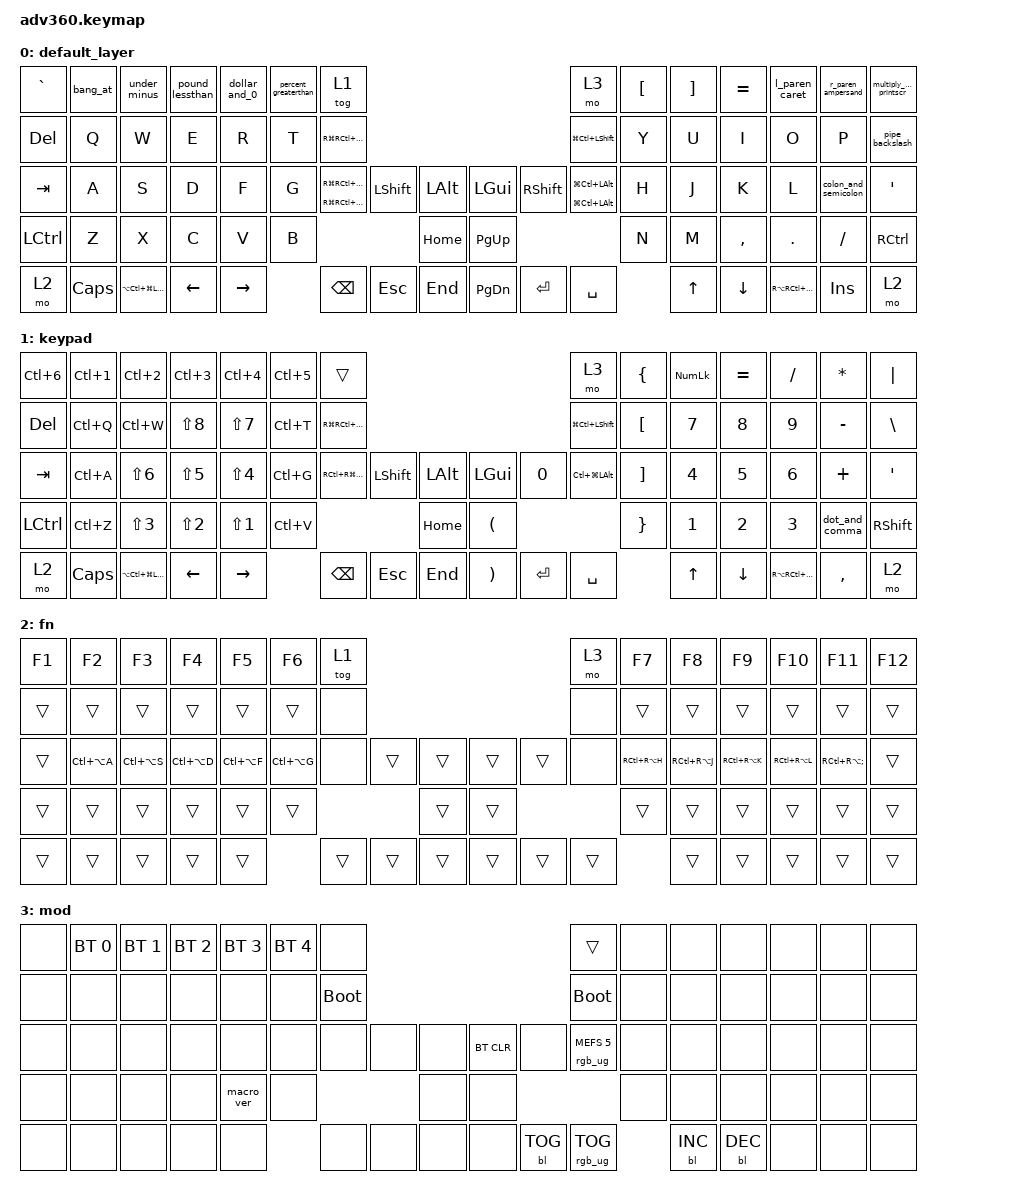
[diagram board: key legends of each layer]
#include <behaviors.dtsi>
#include <dt-bindings/zmk/backlight.h>
#include <dt-bindings/zmk/bt.h>
#include <dt-bindings/zmk/keys.h>
#include <dt-bindings/zmk/rgb.h>

/ {
    behaviors {
        #include "macros.dtsi"
      #include "version.dtsi"
      #ifndef VERSION_MACRO

        macro_ver: macro_ver {
            compatible = "zmk,behavior-macro";
            label = "macro_version";
            #binding-cells = <0>;
            bindings = <&kp RET>;
        };

        #endif

        hm: homerow_mods {
            compatible = "zmk,behavior-hold-tap";
            label = "HOMEROW_MODS";
            #binding-cells = <2>;
            tapping-term-ms = <200>;
            quick_tap_ms = <175>;
            flavor = "tap-preferred";
            bindings = <&kp>, <&kp>;
        };

        l_paren_caret: l_paren_caret {
            compatible = "zmk,behavior-mod-morph";
            label = "L_PAREN_CARET";
            bindings = <&kp LEFT_PARENTHESIS>, <&kp CARET>;

            #binding-cells = <0>;
            mods = <(MOD_RSFT|MOD_LSFT)>;
        };

        r_paren_ampersand: r_paren_ampersand {
            compatible = "zmk,behavior-mod-morph";
            label = "R_PAREN_AMPERSAND";
            bindings = <&kp RIGHT_PARENTHESIS>, <&kp AMPERSAND>;

            #binding-cells = <0>;
            mods = <(MOD_RSFT|MOD_LSFT)>;
        };

        under_minus: under_minus {
            compatible = "zmk,behavior-mod-morph";
            label = "UNDER_MINUS";
            bindings = <&kp UNDERSCORE>, <&kp KP_MINUS>;

            #binding-cells = <0>;
            mods = <(MOD_RSFT|MOD_LSFT)>;
        };

        percent_greaterthan: percent_greaterthan {
            compatible = "zmk,behavior-mod-morph";
            label = "PERCENT_GREATERTHAN";
            bindings = <&kp PERCENT>, <&kp GREATER_THAN>;

            #binding-cells = <0>;
            mods = <(MOD_LSFT|MOD_RSFT)>;
        };

        lessthan_dollar: lessthan_dollar {
            compatible = "zmk,behavior-mod-morph";
            label = "LESSTHAN_DOLLAR";
            bindings = <&kp LESS_THAN>, <&kp DOLLAR>;

            #binding-cells = <0>;
            mods = <(MOD_LSFT|MOD_RSFT)>;
        };

        pipe_backslash: pipe_backslash {
            compatible = "zmk,behavior-mod-morph";
            label = "PIPE_BACKSLASH";
            bindings = <&kp PIPE>, <&kp BACKSLASH>;

            #binding-cells = <0>;
            mods = <(MOD_RSFT|MOD_LSFT)>;
        };

        pound_lessthan: pound_lessthan {
            compatible = "zmk,behavior-mod-morph";
            label = "POUND_LESSTHAN";
            bindings = <&kp POUND>, <&kp LESS_THAN>;

            #binding-cells = <0>;
            mods = <(MOD_LSFT|MOD_RSFT)>;
        };

        bang_at: bang_at {
            compatible = "zmk,behavior-mod-morph";
            label = "BANG_AT";
            bindings = <&kp EXCLAMATION>, <&kp AT_SIGN>;

            #binding-cells = <0>;
            mods = <(MOD_LSFT|MOD_RSFT)>;
        };

        multiply_and_printscr: multiply_and_printscr {
            compatible = "zmk,behavior-mod-morph";
            label = "MULTIPLY_AND_PRINTSCR";
            bindings = <&kp KP_MULTIPLY>, <&kp PRINTSCREEN>;

            #binding-cells = <0>;
            mods = <(MOD_LSFT|MOD_RSFT)>;
        };

        dot_and_comma: dot_and_comma {
            compatible = "zmk,behavior-mod-morph";
            label = "DOT_AND_COMMA";
            bindings = <&kp KP_DOT>, <&kp KP_COMMA>;

            #binding-cells = <0>;
            mods = <(MOD_LSFT|MOD_RSFT)>;
        };

        colon_and_semicolon: colon_and_semicolon {
            compatible = "zmk,behavior-mod-morph";
            label = "COLON_AND_SEMICOLON";
            bindings = <&kp COLON>, <&kp SEMICOLON>;

            #binding-cells = <0>;
            mods = <(MOD_RSFT|MOD_LSFT)>;
        };

        dollar_and_0: dollar_and_0 {
            compatible = "zmk,behavior-mod-morph";
            label = "DOLLAR_AND_0";
            bindings = <&kp DOLLAR>, <&kp N0>;

            #binding-cells = <0>;
            mods = <(MOD_LSFT|MOD_RSFT)>;
        };
    };

    combos {
        compatible = "zmk,combos";

        q-1 {
            bindings = <&kp N1>;
            key-positions = <39 15>;
            timeout-ms = <500>;
        };

        w-2 {
            bindings = <&kp NUMBER_2>;
            key-positions = <39 16>;
            timeout-ms = <500>;
        };

        e-3 {
            bindings = <&kp NUMBER_3>;
            key-positions = <39 17>;
            timeout-ms = <500>;
        };

        r-4 {
            bindings = <&kp NUMBER_4>;
            key-positions = <39 18>;
            timeout-ms = <500>;
        };

        t-5 {
            bindings = <&kp N5>;
            key-positions = <39 19>;
            timeout-ms = <500>;
        };

        y-6 {
            bindings = <&kp NUMBER_6>;
            key-positions = <34 22>;
            timeout-ms = <500>;
        };

        u-7 {
            bindings = <&kp N7>;
            key-positions = <34 23>;
            timeout-ms = <500>;
        };

        i-8 {
            bindings = <&kp N8>;
            key-positions = <34 24>;
            timeout-ms = <500>;
        };

        o-9 {
            bindings = <&kp N9>;
            key-positions = <34 25>;
            timeout-ms = <500>;
        };

        p-0 {
            bindings = <&kp N0>;
            key-positions = <34 26>;
            timeout-ms = <500>;
        };
    };

    macros {
    };

    keymap {
        compatible = "zmk,keymap";

        default_layer {
            bindings = <
&kp GRAVE  &bang_at  &under_minus                &pound_lessthan  &dollar_and_0  &percent_greaterthan  &tog 1                                                                                    &mo 3                                  &kp LEFT_BRACKET  &kp RIGHT_BRACKET  &kp EQUAL  &l_paren_caret               &r_paren_ampersand    &multiply_and_printscr
&kp DEL    &kp Q     &kp W                       &kp E            &kp R          &kp T                 &kp RG(RC(RIGHT_SHIFT))                                                                   &kp LG(LC(LEFT_SHIFT))                 &kp Y             &kp U              &kp I      &kp O                        &kp P                 &pipe_backslash
&kp TAB    &kp A     &kp S                       &kp D            &kp F          &kp G                 &mt RG(RC(RIGHT_ALT)) RG(RC(RIGHT_ALT))  &kp LSHIFT  &kp LALT      &kp LGUI   &kp RSHIFT  &mt LG(LC(LEFT_ALT)) LG(LC(LEFT_ALT))  &kp H             &kp J              &kp K      &kp L                        &colon_and_semicolon  &kp SQT
&kp LCTRL  &kp Z     &kp X                       &kp C            &kp V          &kp B                                                                      &kp HOME      &kp PG_UP                                                     &kp N             &kp M              &kp COMMA  &kp DOT                      &kp FSLH              &kp RCTRL
&mo 2      &kp CAPS  &kp LA(LC(LG(LEFT_SHIFT)))  &kp LEFT         &kp RIGHT                            &kp BSPC                                 &kp ESCAPE  &kp END       &kp PG_DN  &kp ENTER   &kp SPACE                                                &kp UP             &kp DOWN   &kp RA(RC(RG(RIGHT_SHIFT)))  &kp INS               &mo 2
            >;
        };

        keypad {
            bindings = <
&kp LC(NUMBER_6)  &kp LC(N1)  &kp LC(N2)                  &kp LC(N3)        &kp LC(N4)        &kp LC(N5)  &trans                                                                                   &mo 3                   &kp LEFT_BRACE     &kp KP_NUM    &kp EQUAL     &kp SLASH                    &kp STAR        &kp PIPE
&kp DELETE        &kp LC(Q)   &kp LC(W)                   &kp LS(N8)        &kp LS(N7)        &kp LC(T)   &kp RG(RC(RIGHT_SHIFT))                                                                  &kp LG(LC(LEFT_SHIFT))  &kp LEFT_BRACKET   &kp N7        &kp N8        &kp N9                       &kp MINUS       &kp BSLH
&kp TAB           &kp LC(A)   &kp LS(NUMBER_6)            &kp LS(N5)        &kp LS(NUMBER_4)  &kp LC(G)   &kp RC(RG(RIGHT_ALT))    &kp LEFT_SHIFT  &kp LALT      &kp LGUI               &kp N0     &kp LC(LG(LEFT_ALT))    &kp RIGHT_BRACKET  &kp NUMBER_4  &kp N5        &kp NUMBER_6                 &kp PLUS        &kp APOS
&kp LCTRL         &kp LC(Z)   &kp LS(NUMBER_3)            &kp LS(NUMBER_2)  &kp LS(NUMBER_1)  &kp LC(V)                                            &kp HOME      &kp LEFT_PARENTHESIS                                      &kp RIGHT_BRACE    &kp NUMBER_1  &kp NUMBER_2  &kp NUMBER_3                 &dot_and_comma  &kp RSHFT
&mo 2             &kp CAPS    &kp LA(LC(LG(LEFT_SHIFT)))  &kp LEFT          &kp RIGHT                     &kp BSPC                 &kp ESCAPE      &kp END       &kp RIGHT_PARENTHESIS  &kp ENTER  &kp SPACE                                  &kp UP        &kp DOWN      &kp RA(RC(RG(RIGHT_SHIFT)))  &kp COMMA       &mo 2
            >;
        };

        fn {
            bindings = <
&kp F1  &kp F2         &kp F3         &kp F4         &kp F5         &kp F6         &tog 1                                      &mo 3   &kp F7         &kp F8         &kp F9         &kp F10        &kp F11                &kp F12
&trans  &trans         &trans         &trans         &trans         &trans         &none                                       &none   &trans         &trans         &trans         &trans         &trans                 &trans
&trans  &kp LC(LA(A))  &kp LC(LA(S))  &kp LC(LA(D))  &kp LC(LA(F))  &kp LC(LA(G))  &none   &trans  &trans      &trans  &trans  &none   &kp RC(RA(H))  &kp RC(RA(J))  &kp RC(RA(K))  &kp RC(RA(L))  &kp RC(RA(SEMICOLON))  &trans
&trans  &trans         &trans         &trans         &trans         &trans                         &trans      &trans                  &trans         &trans         &trans         &trans         &trans                 &trans
&trans  &trans         &trans         &trans         &trans                        &trans  &trans  &trans      &trans  &trans  &trans                 &trans         &trans         &trans         &trans                 &trans
            >;
        };

        mod {
            bindings = <
&none  &bt BT_SEL 0  &bt BT_SEL 1  &bt BT_SEL 2  &bt BT_SEL 3  &bt BT_SEL 4  &none                                                  &trans                  &none  &none       &none       &none  &none  &none
&none  &none         &none         &none         &none         &none         &bootloader                                            &bootloader             &none  &none       &none       &none  &none  &none
&none  &none         &none         &none         &none         &none         &none        &none  &none      &bt BT_CLR  &none       &rgb_ug RGB_MEFS_CMD 5  &none  &none       &none       &none  &none  &none
&none  &none         &none         &none         &macro_ver    &none                             &none      &none                                           &none  &none       &none       &none  &none  &none
&none  &none         &none         &none         &none                       &none        &none  &none      &none       &bl BL_TOG  &rgb_ug RGB_TOG                &bl BL_INC  &bl BL_DEC  &none  &none  &none
            >;
        };
    };
};
